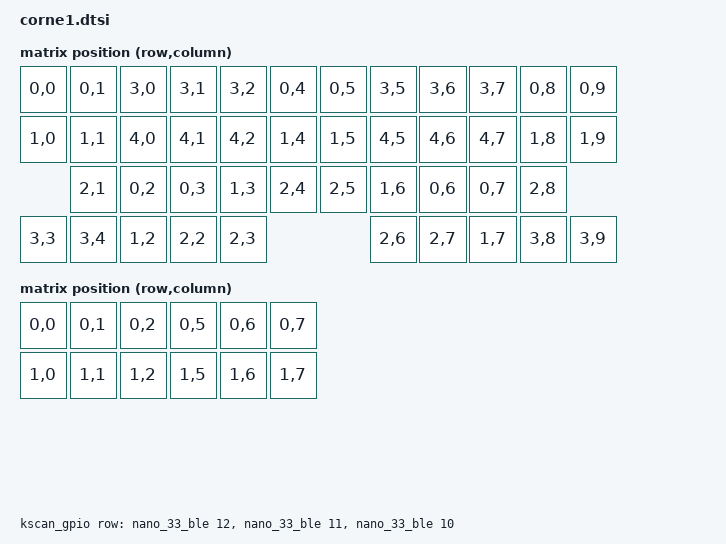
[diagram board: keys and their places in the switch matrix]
/*
 * Copyright (c) 2020 Pete Johanson
 *
 * SPDX-License-Identifier: MIT
 */

#include <dt-bindings/zmk/matrix_transform.h>
// #include <dt-bindings/nano33ble.h>
// #include <layouts/foostan/corne/5column.dtsi>
// #include <layouts/foostan/corne/6column.dtsi>

// &foostan_corne_6col_layout {
//     transform = <&default_transform>;
// };

// &foostan_corne_5col_layout {
//     transform = <&five_column_transform>;
// };

&adc {
    status = "okay";

    #address-cells = <1>;
    #size-cells = <0>;
    // nrf52840/nano_33_ble adc pin assignments:
    // AIN2 = P0.04 (A0 in nano_33_ble)
    // AIN3 = P0.05 (A1 in nano_33_ble)
    // AIN6 = P0.30 (A2 in nano_33_ble)
    // AIN5 = P0.29 (A3 in nano_33_ble)
    // AIN7 = P0.31 (A4 in nano_33_ble)
    // AIN0 = P0.02 (A5 in nano_33_ble)
    // AIN4 = P0.28 (A6 in nano_33_ble)
    // AIN1 = P0.03 (A7 in nano_33_ble)
    channel@0 {
        reg = <0>;
        zephyr,input-positive = <NANO_33_BLE_A0>;
        zephyr,gain = "ADC_GAIN_1_2";
        zephyr,reference = "ADC_REF_INTERNAL";
        zephyr,acquisition-time = <ADC_ACQ_TIME(ADC_ACQ_TIME_MICROSECONDS, 10)>;
        zephyr,resolution = <12>;
    };
    channel@1 {
        reg = <1>;
        zephyr,input-positive = <NANO_33_BLE_A1>;
        zephyr,gain = "ADC_GAIN_1_2";
        zephyr,reference = "ADC_REF_INTERNAL";
        zephyr,acquisition-time = <ADC_ACQ_TIME(ADC_ACQ_TIME_MICROSECONDS, 10)>;
        zephyr,resolution = <12>;
    };
    channel@2 {
        reg = <2>;
        zephyr,input-positive = <NANO_33_BLE_A2>;
        zephyr,gain = "ADC_GAIN_1_2";
        zephyr,reference = "ADC_REF_INTERNAL";
        zephyr,acquisition-time = <ADC_ACQ_TIME(ADC_ACQ_TIME_MICROSECONDS, 10)>;
        zephyr,resolution = <12>;
    };
    channel@3 {
        reg = <3>;
        zephyr,input-positive = <NANO_33_BLE_A3>;
        zephyr,gain = "ADC_GAIN_1_2";
        zephyr,reference = "ADC_REF_INTERNAL";
        zephyr,acquisition-time = <ADC_ACQ_TIME(ADC_ACQ_TIME_MICROSECONDS, 10)>;
        zephyr,resolution = <12>;
    };
    channel@4 {
        reg = <4>;
        zephyr,input-positive = <NANO_33_BLE_A4>;
        zephyr,gain = "ADC_GAIN_1_2";
        zephyr,reference = "ADC_REF_INTERNAL";
        zephyr,acquisition-time = <ADC_ACQ_TIME(ADC_ACQ_TIME_MICROSECONDS, 10)>;
        zephyr,resolution = <12>;
    };
    channel@5 {
        reg = <5>;
        zephyr,input-positive = <NANO_33_BLE_A5>;
        zephyr,gain = "ADC_GAIN_1_2";
        zephyr,reference = "ADC_REF_INTERNAL";
        zephyr,acquisition-time = <ADC_ACQ_TIME(ADC_ACQ_TIME_MICROSECONDS, 10)>;
        zephyr,resolution = <12>;
    };
};

/ {
    chosen {
        // zephyr,display = &oled;
        zmk,kscan = &kscan;
        zmk,physical-layout = &physical_layout0;
    };
    
    physical_layout0: physical_layout_0 { // First physical layout, use different naming for other layouts
        compatible = "zmk,physical-layout";
        display-name = "Default Layout";
        kscan = <&kscan>; // Label of the kscan node, optional if all layouts use the same
        transform = <&default_transform>; // Label of the matrix transform for this layout
    };


    default_transform: keymap_transform_0 {
        compatible = "zmk,matrix-transform";
        columns = <12>;
        rows = <4>;
// |  SW1  |  SW2  |  HE1  |  HE2  |  HE3  |  SW3  | |  SW3  |  HE3  |  HE2  |  HE1  |  SW2  |  SW1  |
// |  SW4  |  SW5  |  HE4  |  HE5  |  HE6  |  SW6  | |  SW6  |  HE6  |  HE5  |  HE4  |  SW5  |  SW4  |
//         |  SW7  |  SW8  |  SW9  | SW10  | SW11  | | SW11  | SW10  |  SW9  |  SW8  |  SW7  | 
//                         |  SW12 | SW13  | SW14  | | SW14  | SW13  | SW12  |
        map = <
    RC(0,0) RC(0,1) RC(3,0) RC(3,1) RC(3,2) RC(0,4)   RC(0,5) RC(3,5) RC(3,6) RC(3,7) RC(0,8) RC(0,9)
    RC(1,0) RC(1,1) RC(4,0) RC(4,1) RC(4,2) RC(1,4)   RC(1,5) RC(4,5) RC(4,6) RC(4,7) RC(1,8) RC(1,9)
            RC(2,1) RC(0,2) RC(0,3) RC(1,3) RC(2,4)   RC(2,5) RC(1,6) RC(0,6) RC(0,7) RC(2,8)
    RC(3,3) RC(3,4)         RC(1,2) RC(2,2) RC(2,3)   RC(2,6) RC(2,7) RC(1,7)         RC(3,8)  RC(3,9)
        >;
    };

    kscan_gpio: kscan-gpio {
        compatible = "zmk,kscan-gpio-matrix";
        wakeup-source;

        diode-direction = "col2row";
        row-gpios
            = <&nano_33_ble 12 (GPIO_ACTIVE_HIGH | GPIO_PULL_DOWN)>
            , <&nano_33_ble 11 (GPIO_ACTIVE_HIGH | GPIO_PULL_DOWN)>
            , <&nano_33_ble 10 (GPIO_ACTIVE_HIGH | GPIO_PULL_DOWN)>
            ;

    };
    kscan: kscan0 {
        compatible = "zmk,kscan-composite";
        wakeup-source;
        rows = <4>;
        columns = <12>;
        gpio-matrix {
            kscan = <&kscan_gpio>;
            row-offset = <0>;
            col-offset = <0>;
        };
        adc-direct {
            kscan = <&kscan_adc>;
            row-offset = <3>;
            col-offset = <0>;
        };
        select-switches {
            kscan = <&kscan_selector>;
            row-offset = <3>;
            col-offset = <3>;
        };
    };
    
    kscan_forwarder: kscan-forwarder {
        compatible = "zmk,kscan-forwarder";
    };

        // 1.0 o 2.1
        // 1.40 -> 0.92 GKS norm =  0.48
        // 0.92 -> 0.60 DRV norm =  0.32 ~= 0.402
        // 1.8 -> 2.6   GKS up   =  0.8
        // 1.2 -> 1.96  DRV up   =  0.76
// high power mode: multiple adc reads and average
// low power mode: single adc read with lower resolution
    kscan_adc: kscan-adc {
        compatible = "zmk,kscan-he-direct-pulsed";
        resolution = <12>;
        pulse-read;
        // calibrate;
        read-turn-on-time= <50>;
        wait-period-idle= <5>;
        wait-period-press= <1>;
        kscan-forwarder = <&kscan_forwarder>;
        kscan_adc_top: top {
            enable-gpios= <&nano_33_ble_gpio_a 6 (GPIO_ACTIVE_HIGH | GPIO_PULL_DOWN)>;
            // switch-pressed-is-higher;
            switch-height = <3300>;
        };
        kscan_adc_bot: bot {
            enable-gpios= <&nano_33_ble_gpio_a 7 (GPIO_ACTIVE_HIGH | GPIO_PULL_DOWN)>;
            // switch-pressed-is-higher;
            switch-height = <3300>;
        };
    };
    kscan_selector: kscan-selector {
        compatible = "zmk,kscan-gpio-direct"; //TODO implement custom driver with pull_up toggling
        wakeup-source;
    };

    raw_sp: raw-he-signal-processor{
        compatible = "he,raw-signal-processor";
        #input-processor-cells = <0>;
        matrix-size = <2 3>;
        working-area = <150 3150>;
        // I lost so many hours debugging this with the wrong values, please check them carefully in the future
        filter-coefficients = <0x3ca485df 0x3d2485df 0x3ca485df 0x3f800000 0xbfc7cf71 0x3f242f9d>;
    };

    heTrans: blank-he-transparent {
        compatible = "he,input-processor-blank-he";
        #input-processor-cells = <0>;
        log;
    };
    henone: blank-he-block {
        compatible = "he,input-processor-blank-he";
        #input-processor-cells = <0>;
        block;
    };
    he_adj: he-adjustable-actuation{
        compatible = "he,input-processor-adjustable-actuation";
        #input-processor-cells = <1>;
        sensitivity = <30>;
        kscan-forwarder = <&kscan_forwarder>;
        kscan-passthrough-position = <2700>;
        keymap-size = <12>;
        kscan-passthrough;
    };

    he_transform: he_transform {// mapping of he sensors before going to kscan-composite but with he,input-processor-matrix-offset applied
        compatible = "zmk,matrix-transform";
        columns = <8>;
        rows = <2>;
        // |  HE1  |  HE2  |  HE3  |  |  HE3  |  HE2  |  HE1  |
        // |  HE4  |  HE5  |  HE6  |  |  HE6  |  HE5  |  HE4  |
        map = <
            RC(0,0) RC(0,1) RC(0,2)    RC(0,5) RC(0,6) RC(0,7)
            RC(1,0) RC(1,1) RC(1,2)    RC(1,5) RC(1,6) RC(1,7)
        >;
    };

    he_keymap: he-keymap {
        compatible = "he,input-processor-keymap";
        #input-processor-cells = <1>;
        transform = <&he_transform>;
        layer0 {
            input-processors = <
                &he_adj 0 &he_adj 1 &he_adj 2   &he_adj 3 &he_adj 4  &he_adj 5
                &he_adj 6 &he_adj 7 &he_adj 8   &he_adj 9 &he_adj 10 &he_adj 11
            >;
        };
    };

    he_mat_offset: he_mat_offset{
        compatible = "he,input-processor-matrix-offset";
        #input-processor-cells = <2>;
    };
    
    split_inputs {
        #address-cells = <1>;
        #size-cells = <0>;
        he_input_split: he_input_split@0 {
            compatible = "zmk,input-split";
            reg = <0>;
        };
    };

    central_listener: central_listener {
        compatible = "he,input-listener";
        status = "disabled";
        device = <&kscan_adc>;
        input-processors = <&raw_sp>;
        layer0 {
            layers = <0>;
            input-processors = <&he_keymap 0>;
            // input-processors = <&henone>;
        };
    };
    peripheral_listener: peripheral_listener {
        compatible = "he,input-listener";
        status = "disabled";
        device = <&he_input_split>;
        layer0 {
            layers = <0>;
            input-processors = <&he_keymap 0>;
            // input-processors = <&henone>;
        };
    };

};

// &nano_33_ble_i2c {
//     status = "okay";

//     oled: ssd1306@3c {
//         compatible = "solomon,ssd1306fb";
//         reg = <0x3c>;
//         width = <128>;
//         height = <32>;
//         segment-offset = <0>;
//         page-offset = <0>;
//         display-offset = <0>;
//         multiplex-ratio = <31>;
//         segment-remap;
//         com-invdir;
//         com-sequential;
//         inversion-on;
//         prechargep = <0x22>;
//     };
// };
